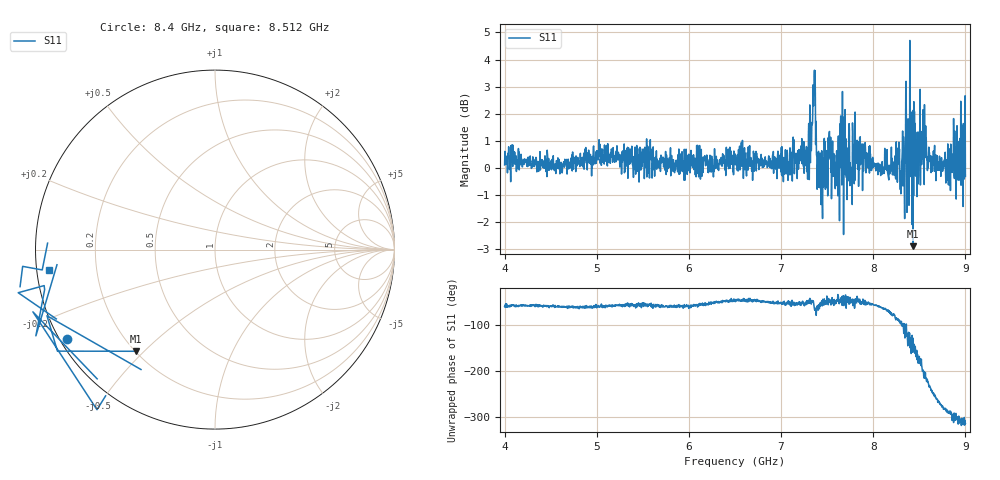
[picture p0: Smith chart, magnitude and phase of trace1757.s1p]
! Created with skrf 1.8.0 (http://scikit-rf.org).
# Hz S RI R 50.0
!freq ReS11 ImS11
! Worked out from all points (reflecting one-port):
!   1601 points, 4 GHz to 9 GHz, reference 50 ohm
!   lowest |S11| = -2.9 dB at 8.431 GHz (marker M1), VSWR 6.05, Z = 10.2 - j23.7 ohm
!   phase of S11 starts at -59 deg and turns -254 deg over the sweep
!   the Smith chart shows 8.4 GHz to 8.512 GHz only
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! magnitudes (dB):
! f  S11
! 4 GHz  0.1
! 4.625 GHz  -0.2
! 5.25 GHz  0.0
! 5.875 GHz  0.0
! 6.5 GHz  0.3
! 7.125 GHz  0.7
! 7.281 GHz  0.7
! 7.356 GHz  2.9
! 7.409 GHz  -0.7
! 7.428 GHz  -0.8
! 7.534 GHz  0.4
! 7.609 GHz  -0.6
! 7.669 GHz  0.6
! 7.703 GHz  0.2
! 7.75 GHz  0.2
! 7.769 GHz  -0.7
! 7.828 GHz  0.7
! 8.316 GHz  0.6
! 8.334 GHz  0.1
! 8.362 GHz  -0.2
! 8.375 GHz  -0.2
! 8.406 GHz  0.2
! 8.431 GHz  -2.9
! 8.522 GHz  1.3
! 8.612 GHz  0.4
! 8.812 GHz  0.4
! 8.972 GHz  0.3
! 9 GHz  -0.3
